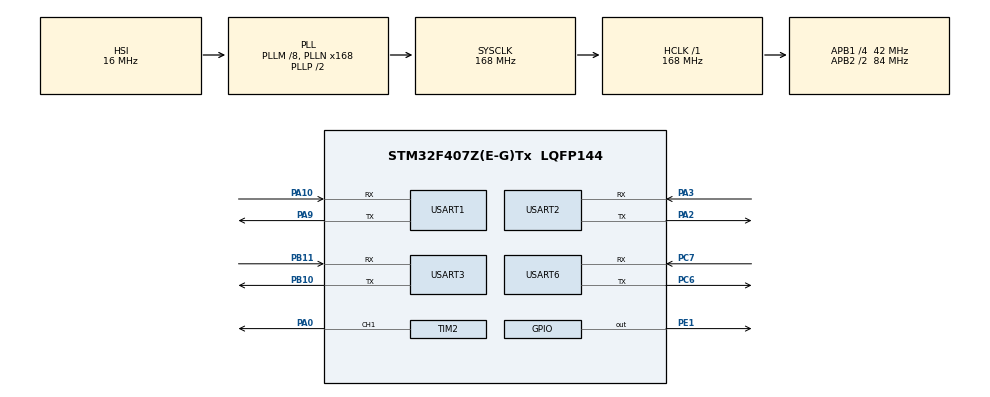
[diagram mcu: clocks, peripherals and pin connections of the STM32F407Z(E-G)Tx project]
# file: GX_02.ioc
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Dma.Request0=USART1_RX
Dma.Request1=USART1_TX
Dma.Request2=USART6_RX
Dma.Request3=USART6_TX
Dma.USART1_RX.0.Direction=DMA_PERIPH_TO_MEMORY
Dma.USART1_RX.0.FIFOMode=DMA_FIFOMODE_DISABLE
Dma.USART1_RX.0.Instance=DMA2_Stream2
Dma.USART1_RX.0.MemDataAlignment=DMA_MDATAALIGN_BYTE
Dma.USART1_RX.0.MemInc=DMA_MINC_ENABLE
Dma.USART1_RX.0.Mode=DMA_NORMAL
Dma.USART1_RX.0.PeriphDataAlignment=DMA_PDATAALIGN_BYTE
Dma.USART1_RX.0.PeriphInc=DMA_PINC_DISABLE
Dma.USART1_RX.0.Priority=DMA_PRIORITY_LOW
Dma.USART1_TX.1.Direction=DMA_MEMORY_TO_PERIPH
Dma.USART1_TX.1.FIFOMode=DMA_FIFOMODE_DISABLE
Dma.USART1_TX.1.Instance=DMA2_Stream7
Dma.USART1_TX.1.MemDataAlignment=DMA_MDATAALIGN_BYTE
Dma.USART1_TX.1.MemInc=DMA_MINC_ENABLE
Dma.USART1_TX.1.Mode=DMA_NORMAL
Dma.USART1_TX.1.PeriphDataAlignment=DMA_PDATAALIGN_BYTE
Dma.USART1_TX.1.PeriphInc=DMA_PINC_DISABLE
Dma.USART1_TX.1.Priority=DMA_PRIORITY_LOW
Dma.USART6_RX.2.Direction=DMA_PERIPH_TO_MEMORY
Dma.USART6_RX.2.FIFOMode=DMA_FIFOMODE_DISABLE
Dma.USART6_RX.2.Instance=DMA2_Stream1
Dma.USART6_RX.2.MemDataAlignment=DMA_MDATAALIGN_BYTE
Dma.USART6_RX.2.MemInc=DMA_MINC_ENABLE
Dma.USART6_RX.2.Mode=DMA_NORMAL
Dma.USART6_RX.2.PeriphDataAlignment=DMA_PDATAALIGN_BYTE
Dma.USART6_RX.2.PeriphInc=DMA_PINC_DISABLE
Dma.USART6_RX.2.Priority=DMA_PRIORITY_LOW
Dma.USART6_TX.3.Direction=DMA_MEMORY_TO_PERIPH
Dma.USART6_TX.3.FIFOMode=DMA_FIFOMODE_DISABLE
Dma.USART6_TX.3.Instance=DMA2_Stream6
Dma.USART6_TX.3.MemDataAlignment=DMA_MDATAALIGN_BYTE
Dma.USART6_TX.3.MemInc=DMA_MINC_ENABLE
Dma.USART6_TX.3.Mode=DMA_NORMAL
Dma.USART6_TX.3.PeriphDataAlignment=DMA_PDATAALIGN_BYTE
Dma.USART6_TX.3.PeriphInc=DMA_PINC_DISABLE
Dma.USART6_TX.3.Priority=DMA_PRIORITY_LOW
Mcu.Family=STM32F4
Mcu.Name=STM32F407Z(E-G)Tx
Mcu.Package=LQFP144
NVIC.DMA2_Stream1_IRQn=true\:0\:0\:false\:false\:true\:false\:true\:true
NVIC.DMA2_Stream2_IRQn=true\:0\:0\:false\:false\:true\:false\:true\:true
NVIC.DMA2_Stream6_IRQn=true\:0\:0\:false\:false\:true\:false\:true\:true
NVIC.DMA2_Stream7_IRQn=true\:0\:0\:false\:false\:true\:false\:true\:true
NVIC.PriorityGroup=NVIC_PRIORITYGROUP_4
NVIC.USART1_IRQn=true\:0\:0\:false\:false\:true\:true\:true\:true
NVIC.USART6_IRQn=true\:0\:0\:false\:false\:true\:true\:true\:true
PA0-WKUP.Signal=S_TIM2_CH1_ETR
PA10.Mode=Asynchronous
PA10.Signal=USART1_RX
PA13.Mode=Serial_Wire
PA13.Signal=SYS_JTMS-SWDIO
PA14.Mode=Serial_Wire
PA14.Signal=SYS_JTCK-SWCLK
PA2.Mode=Asynchronous
PA2.Signal=USART2_TX
PA3.Mode=Asynchronous
PA3.Signal=USART2_RX
PA9.Mode=Asynchronous
PA9.Signal=USART1_TX
PB10.Mode=Asynchronous
PB10.Signal=USART3_TX
PB11.Mode=Asynchronous
PB11.Signal=USART3_RX
PC6.Mode=Asynchronous
PC6.Signal=USART6_TX
PC7.Mode=Asynchronous
PC7.Signal=USART6_RX
PE1.PinState=GPIO_PIN_SET
PE1.Signal=GPIO_Output
PH0-OSC_IN.Mode=HSE-External-Oscillator
PH0-OSC_IN.Signal=RCC_OSC_IN
PH1-OSC_OUT.Mode=HSE-External-Oscillator
PH1-OSC_OUT.Signal=RCC_OSC_OUT
ProjectManager.HeapSize=0x200
ProjectManager.StackSize=0x400
ProjectManager.TargetToolchain=MDK-ARM V5.32
RCC.48MHZClocksFreq_Value=84000000
RCC.AHBFreq_Value=168000000
RCC.APB1CLKDivider=RCC_HCLK_DIV4
RCC.APB1Freq_Value=42000000
RCC.APB1TimFreq_Value=84000000
RCC.APB2CLKDivider=RCC_HCLK_DIV2
RCC.APB2Freq_Value=84000000
RCC.APB2TimFreq_Value=168000000
RCC.CortexFreq_Value=168000000
RCC.HCLKFreq_Value=168000000
RCC.HSE_VALUE=8000000
RCC.HSI_VALUE=16000000
RCC.LSE_VALUE=32768
RCC.PLLM=8
RCC.PLLN=168
RCC.SYSCLKFreq_VALUE=168000000
RCC.SYSCLKSource=RCC_SYSCLKSOURCE_PLLCLK
RCC.VCOOutputFreq_Value=336000000
SH.S_TIM2_CH1_ETR.0=TIM2_CH1,PWM Generation1 CH1
TIM2.Channel-PWM\ Generation1\ CH1=TIM_CHANNEL_1
TIM2.Period=200-1
TIM2.Prescaler=8400-1
TIM2.Pulse-PWM\ Generation1\ CH1=100
USART1.VirtualMode=VM_ASYNC
USART2.VirtualMode=VM_ASYNC
USART3.VirtualMode=VM_ASYNC
USART6.VirtualMode=VM_ASYNC
VP_TIM1_VS_ClockSourceINT.Mode=Internal
VP_TIM2_VS_ClockSourceINT.Mode=Internal
board=custom

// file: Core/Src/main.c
/* USER CODE BEGIN Header */
/**
  ******************************************************************************
  * @file           : main.c
  * @brief          : Main program body
  ******************************************************************************
  * @attention
  *
  * Copyright (c) 2024 STMicroelectronics.
  * All rights reserved.
  *
  * This software is licensed under terms that can be found in the LICENSE file
  * in the root directory of this software component.
  * If no LICENSE file comes with this software, it is provided AS-IS.
  *
  ******************************************************************************
  */
/* USER CODE END Header */
#include "main.h"
#include "dma.h"
#include "tim.h"
#include "usart.h"
#include "gpio.h"

/* USER CODE BEGIN Includes */
#include "Emm_V5.h"
#include "fifo.h"
#include "motor_control.h"
#include <string.h>
#include "derives_servo.h"
/* USER CODE END Includes */

/* USER CODE BEGIN PV */
	uint8_t receiveData[50];
	volatile int flag1	=	0;
	volatile int can_send = 1;
//	static	uint8_t cmd[16] = {0};
/* USER CODE END PV */

void SystemClock_Config(void);

int main(void)
{

  /* MCU Configuration--------------------------------------------------------*/

  /* Reset of all peripherals, Initializes the Flash interface and the Systick. */
  HAL_Init();

  /* Configure the system clock */
  SystemClock_Config();

  /* Initialize all configured peripherals */
  MX_GPIO_Init();
  MX_DMA_Init();
  MX_USART1_UART_Init();
  MX_USART6_UART_Init();
  MX_USART2_UART_Init();
  MX_USART3_UART_Init();
  MX_TIM1_Init();
  MX_TIM2_Init();
  /* USER CODE BEGIN 2 */
//	HAL_UARTEx_ReceiveToIdle_DMA(&huart1,receiveData,sizeof(receiveData));
//	__HAL_DMA_DISABLE_IT(&hdma_usart1_rx, DMA_IT_HT); // 禁用串口传输过半中断
	HAL_UARTEx_ReceiveToIdle_DMA(&huart6,receiveData,sizeof(receiveData));
	__HAL_DMA_DISABLE_IT(&hdma_usart6_rx, DMA_IT_HT); // 禁用串口传输过半中断
	Servo_Init(0);
	HAL_Delay(1000);
  /* USER CODE END 2 */

  /* Infinite loop */
  /* USER CODE BEGIN WHILE */
  while (1)
  {

		if(flag1==1)
		{

			if(receiveData[0]==1)
			{
//				Set_Motors_Velocity(80);
//				 Emm_V5_Vel_Control_01(3, 0, 80, 0, 0);
				 CurrentState = STATE_0_DEG;
				 Servo_StateMachine();
					 HAL_Delay(1000);
			}
			else if(receiveData[0]==2)
			{
//				Set_Motors_Velocity(0);
//				 Emm_V5_Vel_Control_01(3, 0, 0, 0, 0);
				 CurrentState = STATE_45_DEG;
				 Servo_StateMachine();
				HAL_Delay(1000);
			}
			else if(receiveData[0]==3)
			{
//				if(can_send==1)
//				{
//					Emm_V5_Pos_Control_01(3, 0, 50, 0, 3200, 0, 0);
//					can_send = 0;
//				}
//				HAL_Delay(1000);
//				if(can_send==1)
//				{
//					Emm_V5_Pos_Control_01(3, 0, 150, 0, 3200, 0, 0);
//					can_send = 0;
//				}
				  CurrentState = STATE_90_DEG;
				  Servo_StateMachine();
				HAL_Delay(1000);
			}
			else if(receiveData[0]==4)
			{
				  CurrentState = STATE_180_DEG;
				  Servo_StateMachine();
				HAL_Delay(1000);
			}

			int len = sizeof(receiveData) / 4;
			for(int i=0;i<len;i++)
			{
				fifo_enQueue(receiveData[i]);
				receiveData[i]=0;
			}

			flag1=0;
		}

//		  HAL_UART_Transmit_DMA(&huart6,receiveData,sizeof(receiveData));
//			HAL_UART_Transmit_DMA(&huart1,rxFIFO.buffer,sizeof(rxFIFO.buffer));

////			free_rxFIFOqueue();
//			HAL_UARTEx_ReceiveToIdle_DMA(&huart1, receiveData, sizeof(receiveData)); // 接收完毕后重启
//			__HAL_DMA_DISABLE_IT(&hdma_usart1_rx, DMA_IT_HT);
//////			while(!can_send);//等待上一组数据传输完成

    /* USER CODE END WHILE */

  }
}

void SystemClock_Config(void)
{
  RCC_OscInitTypeDef RCC_OscInitStruct = {0};
  RCC_ClkInitTypeDef RCC_ClkInitStruct = {0};

  /** Configure the main internal regulator output voltage
  */
  __HAL_RCC_PWR_CLK_ENABLE();
  __HAL_PWR_VOLTAGESCALING_CONFIG(PWR_REGULATOR_VOLTAGE_SCALE1);

  /** Initializes the RCC Oscillators according to the specified parameters
  * in the RCC_OscInitTypeDef structure.
  */
  RCC_OscInitStruct.OscillatorType = RCC_OSCILLATORTYPE_HSI;
  RCC_OscInitStruct.HSIState = RCC_HSI_ON;
  RCC_OscInitStruct.HSICalibrationValue = RCC_HSICALIBRATION_DEFAULT;
  RCC_OscInitStruct.PLL.PLLState = RCC_PLL_ON;
  RCC_OscInitStruct.PLL.PLLSource = RCC_PLLSOURCE_HSI;
  RCC_OscInitStruct.PLL.PLLM = 8;
  RCC_OscInitStruct.PLL.PLLN = 168;
  RCC_OscInitStruct.PLL.PLLP = RCC_PLLP_DIV2;
  RCC_OscInitStruct.PLL.PLLQ = 4;
  if (HAL_RCC_OscConfig(&RCC_OscInitStruct) != HAL_OK)
  {
    Error_Handler();
  }

  /** Initializes the CPU, AHB and APB buses clocks
  */
  RCC_ClkInitStruct.ClockType = RCC_CLOCKTYPE_HCLK|RCC_CLOCKTYPE_SYSCLK
                              |RCC_CLOCKTYPE_PCLK1|RCC_CLOCKTYPE_PCLK2;
  RCC_ClkInitStruct.SYSCLKSource = RCC_SYSCLKSOURCE_PLLCLK;
  RCC_ClkInitStruct.AHBCLKDivider = RCC_SYSCLK_DIV1;
  RCC_ClkInitStruct.APB1CLKDivider = RCC_HCLK_DIV4;
  RCC_ClkInitStruct.APB2CLKDivider = RCC_HCLK_DIV2;

  if (HAL_RCC_ClockConfig(&RCC_ClkInitStruct, FLASH_LATENCY_5) != HAL_OK)
  {
    Error_Handler();
  }
}

/* USER CODE BEGIN 4 */
void HAL_UART_TxCpltCallback(UART_HandleTypeDef *huart)
{
    if(huart == &huart1)
    {
        // 当前传输完成，可以发送下一个缓冲区
        can_send = 1;
    }
}
 void HAL_UARTEx_RxEventCallback(UART_HandleTypeDef *huart, uint16_t Size)
{

	if(huart == &huart6)
	{
		flag1 = 1;
	}
		HAL_UART_Transmit_DMA(&huart6,receiveData,sizeof(receiveData));
		HAL_UARTEx_ReceiveToIdle_DMA(&huart6,receiveData,sizeof(receiveData));
		__HAL_DMA_DISABLE_IT(&hdma_usart1_rx, DMA_IT_HT); // 禁用串口传输过半中断
}
void HAL_UART_ErrorCallback(UART_HandleTypeDef * huart)
{
    if(huart==&huart6)
    {
			flag1=1;
			HAL_UARTEx_ReceiveToIdle_DMA(&huart6, receiveData, sizeof(receiveData)); // 接收完毕后重启
			__HAL_DMA_DISABLE_IT(&hdma_usart6_rx, DMA_IT_HT);
			memset(receiveData, 0, sizeof(receiveData));							   // 清除接收缓存
    }
}
/* USER CODE END 4 */

void Error_Handler(void)
{
  __disable_irq();
  while (1)
  {
  }
}
